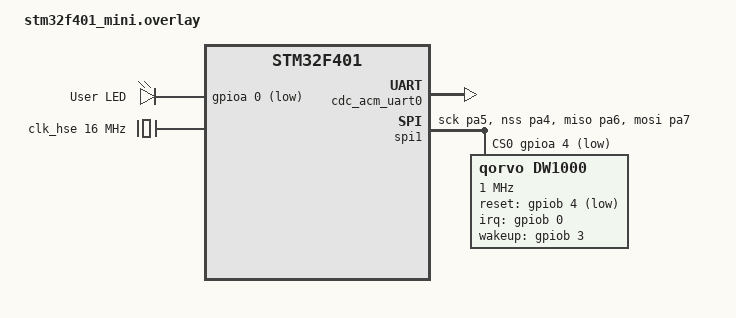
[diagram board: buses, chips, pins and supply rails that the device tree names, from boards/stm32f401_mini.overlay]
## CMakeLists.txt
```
# SPDX-License-Identifier: Apache-2.0
cmake_minimum_required(VERSION 3.20.0)

# use base board stm32f401_mini
set(BOARD stm32f401_mini)

# use flash way openocd
set(BOARD_FLASH_RUNNER openocd)

# overlay the dts file
# set(DTC_OVERLAY_FILE ${CMAKE_CURRENT_SOURCE_DIR}/boards/stm32f401_mini_dw1000.overlay)
set(DTC_OVERLAY_FILE ${CMAKE_CURRENT_SOURCE_DIR}/boards/stm32f401_mini.overlay)

# add the dw3000-decadriver directory as a zephyr module by hand, not needed when using west
list(APPEND ZEPHYR_EXTRA_MODULES ${CMAKE_CURRENT_SOURCE_DIR}/zephyr-dw3000-driver/)
list(APPEND ZEPHYR_EXTRA_MODULES ${CMAKE_CURRENT_SOURCE_DIR}/zephyr-dw1000-driver/)

find_package(Zephyr REQUIRED HINTS $ENV{ZEPHYR_BASE})

project(zephyr-dw3000)

FILE(GLOB app_sources src/main.cpp)
target_sources(app PRIVATE ${app_sources})

FILE(GLOB ex_sources src/device/*.cpp)
target_sources(app PRIVATE ${ex_sources})

FILE(GLOB ex_sources src/msg/*.cpp)
target_sources(app PRIVATE ${ex_sources})

target_include_directories(app PRIVATE include)

# target_compile_definitions(app PRIVATE LOG_LEVEL=LOG_LEVEL_INF)
target_compile_definitions(app PRIVATE LOG_LEVEL=LOG_LEVEL_DBG)

target_compile_definitions(app PRIVATE CMAKE_EXPORT_COMPILE_COMMANDS=1)
```

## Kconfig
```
config DEVICE_ADDRESS
	int "address of the device"
	default 0
config DEVICE_PANID
    int "PAN ID of the device"
    default 1

choice
    prompt "Device Type"
    default DEVICE_TYPE_NODE
    config DEVICE_TYPE_NODE
        bool "Node"
    config DEVICE_TYPE_TAG
        bool "Tag"
    config DEVICE_TYPE_ANCHOR
        bool "Anchor"
endchoice

choice
    prompt "Measurement Type"
    default SS_TWR
    config SS_TWR
        bool "SS TWR"
    config DS_TWR
        bool "DS TWR"
endchoice

menu "Zephyr options"
    source "Kconfig.zephyr"
endmenu
```

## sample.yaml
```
sample:
  name: dw3000 twr rtls
```

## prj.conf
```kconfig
CONFIG_CPP=y
CONFIG_CPP_MAIN=y
CONFIG_LIB_CPLUSPLUS=y
CONFIG_SYS_HASH_MAP_CHOICE_CXX=y
CONFIG_SYS_HASH_MAP=y
CONFIG_MINIMAL_LIBC_MALLOC_ARENA_SIZE=1024

CONFIG_USB_DEVICE_STACK=y
CONFIG_USB_DEVICE_VID=0x2FE4
CONFIG_USB_DEVICE_PRODUCT="USB console"
CONFIG_USB_DEVICE_MANUFACTURER="vacabun"

CONFIG_SERIAL=y
CONFIG_CONSOLE=y
CONFIG_UART_CONSOLE=y
CONFIG_UART_LINE_CTRL=y

CONFIG_SPI=y
CONFIG_GPIO=y
CONFIG_DEBUG_SWD=y

CONFIG_SHELL=y
CONFIG_LOG=y
CONFIG_CBPRINTF_FP_SUPPORT=y

CONFIG_JSON_LIBRARY=y

CONFIG_DW3000=n
CONFIG_DW1000=y
```

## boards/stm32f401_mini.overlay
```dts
/ {
	chosen {
		zephyr,console = &cdc_acm_uart0;
		zephyr,shell-uart = &cdc_acm_uart0;
	};

	leds {
		compatible = "gpio-leds";
		user_led: led {
			gpios = <&gpioa 0 GPIO_ACTIVE_LOW>;
			label = "User LED";
		};
	};
	aliases {
        serial = &usart1;
    };

};

&zephyr_udc0 {
	cdc_acm_uart0: cdc_acm_uart0 {
		compatible = "zephyr,cdc-acm-uart";
	};
};

&timers4 {
	status = "disabled";
};

&i2c1 {
	status = "disabled";
};

// 16M
&clk_hse {
	clock-frequency = <DT_FREQ_M(16)>;
	status = "okay";
};

&pll {
	div-m = <8>;
	mul-n = <72>;
	div-p = <2>;
	div-q = <3>;
	clocks = <&clk_hse>;
	status = "okay";
};

// 25M
// &clk_hse {
// 	clock-frequency = <DT_FREQ_M(25)>;
// 	status = "okay";
// };

// &pll {
// 	div-m = <25>;
// 	mul-n = <144>;
// 	div-p = <2>;
// 	div-q = <3>;
// 	clocks = <&clk_hse>;
// 	status = "okay";
// };

&rcc {
	clocks = <&pll>;
	clock-frequency = <DT_FREQ_M(72)>;
	ahb-prescaler = <1>;
	apb1-prescaler = <2>;
	apb2-prescaler = <1>;
};

// &spi1 {
// 	status = "okay";
// 	pinctrl-0 = <&spi1_sck_pa5 &spi1_nss_pa4
// 		     &spi1_miso_pa6 &spi1_mosi_pa7>;
// 	pinctrl-names = "default";
// 	cs-gpios = <&gpioa 4 GPIO_ACTIVE_LOW>;
// 	dw3000@0 {
// 		compatible = "decawave,dw3000";
// 		label = "DW3000";
// 		spi-max-frequency = <1000000>;
// 		reg = <0>;
// 		reset-gpios = <&gpiob 4 GPIO_ACTIVE_LOW>;
// 		irq-gpios = <&gpiob 0 GPIO_ACTIVE_HIGH>;
// 		wakeup-gpios = <&gpiob 3 GPIO_ACTIVE_HIGH>;
// 	};
// };

&spi1 {
	status = "okay";
	pinctrl-0 = <&spi1_sck_pa5 &spi1_nss_pa4
		     &spi1_miso_pa6 &spi1_mosi_pa7>;
	pinctrl-names = "default";
	cs-gpios = <&gpioa 4 GPIO_ACTIVE_LOW>;
	dw1000@0 {
		compatible = "qorvo,dw1000";
		label = "DW1000";
		spi-max-frequency = <1000000>;
		reg = <0>;
		reset-gpios = <&gpiob 4 GPIO_ACTIVE_LOW>;
		irq-gpios = <&gpiob 0 GPIO_ACTIVE_HIGH>;
		wakeup-gpios = <&gpiob 3 GPIO_ACTIVE_HIGH>;
	};
};
```

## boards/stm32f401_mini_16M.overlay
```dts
/ {
	chosen {
		zephyr,console = &cdc_acm_uart0;
		zephyr,shell-uart = &cdc_acm_uart0;
	};

	leds {
		compatible = "gpio-leds";
		user_led: led {
			gpios = <&gpioa 0 GPIO_ACTIVE_LOW>;
			label = "User LED";
		};
	};

};

&zephyr_udc0 {
	cdc_acm_uart0: cdc_acm_uart0 {
		compatible = "zephyr,cdc-acm-uart";
	};
};

&timers4 {
	status = "disabled";
};

&i2c1 {
	status = "disabled";
};

&clk_hse {
	clock-frequency = <DT_FREQ_M(16)>;
	status = "okay";
};

&pll {
	div-m = <8>;
	mul-n = <72>;
	div-p = <2>;
	div-q = <3>;
	clocks = <&clk_hse>;
	status = "okay";
};

&rcc {
	clocks = <&pll>;
	clock-frequency = <DT_FREQ_M(72)>;
	ahb-prescaler = <1>;
	apb1-prescaler = <2>;
	apb2-prescaler = <1>;
};

&spi1 {
	status = "okay";
	pinctrl-0 = <&spi1_sck_pa5 &spi1_nss_pa4
		     &spi1_miso_pa6 &spi1_mosi_pa7>;
	pinctrl-names = "default";
	cs-gpios = <&gpioa 4 GPIO_ACTIVE_LOW>;
	dw3000@0 {
		compatible = "decawave,dw3000";
		label = "DW3000";
		spi-max-frequency = <1000000>;
		reg = <0>;
		reset-gpios = <&gpiob 4 GPIO_ACTIVE_LOW>;
		irq-gpios = <&gpiob 0 GPIO_ACTIVE_HIGH>;
		wakeup-gpios = <&gpiob 3 GPIO_ACTIVE_HIGH>;
	};
};
```

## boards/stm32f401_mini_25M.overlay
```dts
/ {
	chosen {
		zephyr,console = &cdc_acm_uart0;
		zephyr,shell-uart = &cdc_acm_uart0;
	};

	leds {
		compatible = "gpio-leds";
		user_led: led {
			gpios = <&gpioa 0 GPIO_ACTIVE_LOW>;
			label = "User LED";
		};
	};

};

&zephyr_udc0 {
	cdc_acm_uart0: cdc_acm_uart0 {
		compatible = "zephyr,cdc-acm-uart";
	};
};

&timers4 {
	status = "disabled";
};

&i2c1 {
	status = "disabled";
};

&clk_hse {
	clock-frequency = <DT_FREQ_M(25)>;
	status = "okay";
};

&pll {
	div-m = <25>;
	mul-n = <144>;
	div-p = <2>;
	div-q = <3>;
	clocks = <&clk_hse>;
	status = "okay";
};

&rcc {
	clocks = <&pll>;
	clock-frequency = <DT_FREQ_M(72)>;
	ahb-prescaler = <1>;
	apb1-prescaler = <2>;
	apb2-prescaler = <1>;
};

&spi1 {
	status = "okay";
	pinctrl-0 = <&spi1_sck_pa5 &spi1_nss_pa4
		     &spi1_miso_pa6 &spi1_mosi_pa7>;
	pinctrl-names = "default";
	cs-gpios = <&gpioa 4 GPIO_ACTIVE_LOW>;
	dw3000@0 {
		compatible = "decawave,dw3000";
		label = "DW3000";
		spi-max-frequency = <1000000>;
		reg = <0>;
		reset-gpios = <&gpiob 4 GPIO_ACTIVE_LOW>;
		irq-gpios = <&gpiob 0 GPIO_ACTIVE_HIGH>;
		wakeup-gpios = <&gpiob 3 GPIO_ACTIVE_HIGH>;
	};
};
```

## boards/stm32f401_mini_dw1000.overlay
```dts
/ {
	chosen {
		zephyr,console = &cdc_acm_uart0;
		zephyr,shell-uart = &cdc_acm_uart0;
	};

	leds {
		compatible = "gpio-leds";
		user_led: led {
			gpios = <&gpioa 0 GPIO_ACTIVE_LOW>;
			label = "User LED";
		};
	};
	aliases {
        serial = &usart1;
    };

};

&zephyr_udc0 {
	cdc_acm_uart0: cdc_acm_uart0 {
		compatible = "zephyr,cdc-acm-uart";
	};
};

&timers4 {
	status = "disabled";
};

&i2c1 {
	status = "disabled";
};

// 16M
&clk_hse {
	clock-frequency = <DT_FREQ_M(16)>;
	status = "okay";
};

&pll {
	div-m = <8>;
	mul-n = <72>;
	div-p = <2>;
	div-q = <3>;
	clocks = <&clk_hse>;
	status = "okay";
};

&rcc {
	clocks = <&pll>;
	clock-frequency = <DT_FREQ_M(72)>;
	ahb-prescaler = <1>;
	apb1-prescaler = <2>;
	apb2-prescaler = <1>;
};

&spi1 {
	status = "okay";
	pinctrl-0 = <&spi1_sck_pa5 &spi1_nss_pa4
		     &spi1_miso_pa6 &spi1_mosi_pa7>;
	pinctrl-names = "default";
	cs-gpios = <&gpioa 4 GPIO_ACTIVE_LOW>;
	dw1000@0 {
		compatible = "qorvo,dw1000";
		label = "DW1000";
		spi-max-frequency = <1000000>;
		reg = <0>;
		reset-gpios = <&gpiob 4 GPIO_ACTIVE_LOW>;
		irq-gpios = <&gpiob 0 GPIO_ACTIVE_HIGH>;
		wakeup-gpios = <&gpiob 3 GPIO_ACTIVE_HIGH>;
	};
};
```

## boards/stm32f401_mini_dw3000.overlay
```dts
/ {
	chosen {
		zephyr,console = &cdc_acm_uart0;
		zephyr,shell-uart = &cdc_acm_uart0;
	};

	leds {
		compatible = "gpio-leds";
		user_led: led {
			gpios = <&gpioa 0 GPIO_ACTIVE_LOW>;
			label = "User LED";
		};
	};
	aliases {
        serial = &usart1;
    };

};

&zephyr_udc0 {
	cdc_acm_uart0: cdc_acm_uart0 {
		compatible = "zephyr,cdc-acm-uart";
	};
};

&timers4 {
	status = "disabled";
};

&i2c1 {
	status = "disabled";
};


// 25M
&clk_hse {
	clock-frequency = <DT_FREQ_M(25)>;
	status = "okay";
};

&pll {
	div-m = <25>;
	mul-n = <144>;
	div-p = <2>;
	div-q = <3>;
	clocks = <&clk_hse>;
	status = "okay";
};

&rcc {
	clocks = <&pll>;
	clock-frequency = <DT_FREQ_M(72)>;
	ahb-prescaler = <1>;
	apb1-prescaler = <2>;
	apb2-prescaler = <1>;
};

&spi1 {
	status = "okay";
	pinctrl-0 = <&spi1_sck_pa5 &spi1_nss_pa4
		     &spi1_miso_pa6 &spi1_mosi_pa7>;
	pinctrl-names = "default";
	cs-gpios = <&gpioa 4 GPIO_ACTIVE_LOW>;
	dw3000@0 {
		compatible = "decawave,dw3000";
		label = "DW3000";
		spi-max-frequency = <1000000>;
		reg = <0>;
		reset-gpios = <&gpiob 4 GPIO_ACTIVE_LOW>;
		irq-gpios = <&gpiob 0 GPIO_ACTIVE_HIGH>;
		wakeup-gpios = <&gpiob 3 GPIO_ACTIVE_HIGH>;
	};
};
```

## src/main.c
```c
/*
 * Copyright (c) 2016 Intel Corporation.
 *
 * SPDX-License-Identifier: Apache-2.0
 */

#include <zephyr/kernel.h>
#include <zephyr/sys/printk.h>
#include <zephyr/usb/usb_device.h>
#include <zephyr/drivers/uart.h>

// use swd debug
#if CONFIG_DEBUG_SWD == 1
#include "stm32f4xx_ll_system.h"
#endif

#include "dw3000.h"

BUILD_ASSERT(DT_NODE_HAS_COMPAT(DT_CHOSEN(zephyr_console), zephyr_cdc_acm_uart), "Console device is not ACM CDC UART device");
LOG_MODULE_REGISTER(main, LOG_LEVEL_DBG);

#define DEFAULT_STACKSIZE 2048

#if defined(TEST_READING_DEV_ID) || defined(TEST_AES_SS_TWR_INITIATOR) || defined(TEST_AES_SS_TWR_RESPONDER)

#define TEST_STACKSIZE 4096
#define _TEST_
#include "test/test.h"
void (*test_fun)(void *, void *, void *);
static K_THREAD_STACK_DEFINE(test_stack, TEST_STACKSIZE);
static struct k_thread test_thread;

#endif // TEST_READING_DEV_ID TEST_AES_SS_TWR_INITIATOR TEST_AES_SS_TWR_RESPONDER

#if defined(DEVICE_TAG)
#include <device/tag/tag.h>
static K_THREAD_STACK_DEFINE(tag_initiator_stack, DEFAULT_STACKSIZE);
static struct k_thread tag_initiator_thread;
#endif // DEVICE_TAG

#if defined(DEVICE_ANCHOR)

#include <device/anthor/anthor.h>
#include <device/device_common.h>

// tx Workqueue Thread
K_HEAP_DEFINE(tx_msg_heap, 1024);

#define ANTHOR_TX_WORK_QUEUE_STACK_SIZE 512
#define ANTHOR_TX_WORK_QUEUE_PRIORITY 5

K_THREAD_STACK_DEFINE(anthor_tx_work_q_stack_area, ANTHOR_TX_WORK_QUEUE_STACK_SIZE);
struct k_work_q anthor_tx_work_q;

// main thread
static K_THREAD_STACK_DEFINE(anthor_responder_stack, DEFAULT_STACKSIZE);
static struct k_thread anthor_responder_thread;

#endif // DEVICE_ANCHOR

void main(void)
{
	// swd debug
#if CONFIG_DEBUG_SWD == 1
	LL_DBGMCU_EnableDBGSleepMode();
#endif

	/* usb config */
	if (usb_enable(NULL))
		return;
	k_sleep(K_MSEC(1000));

#if defined(_TEST_)
#if defined(TEST_READING_DEV_ID)
	test_fun = read_dev_id;
#endif // TEST_READING_DEV_ID

#if defined(TEST_AES_SS_TWR_INITIATOR)
	test_fun = ss_aes_twr_initiator;
#endif // TEST_AES_SS_TWR_INITIATOR

#if defined(TEST_AES_SS_TWR_RESPONDER)
	test_fun = ss_aes_twr_responder;
#endif // TEST_AES_SS_TWR_RESPONDER

	k_thread_create(&test_thread,
					test_stack,
					TEST_STACKSIZE,
					test_fun,
					NULL,
					NULL,
					NULL,
					K_PRIO_COOP(7),
					0,
					K_NO_WAIT);
#endif //_TEST_

#if defined(DEVICE_TAG)
	tag_init_dw3000();
	k_thread_create(&tag_initiator_thread,
					tag_initiator_stack,
					DEFAULT_STACKSIZE,
					tag_initiator,
					NULL,
					NULL,
					NULL,
					K_PRIO_COOP(7),
					0,
					K_NO_WAIT);
#endif

#if defined(DEVICE_ANCHOR)
	anthor_init_dw3000();

	// tx Workqueue Thread
	k_work_queue_init(&anthor_tx_work_q);
	k_work_queue_start(&anthor_tx_work_q,
					   anthor_tx_work_q_stack_area,
					   K_THREAD_STACK_SIZEOF(anthor_tx_work_q_stack_area),
					   ANTHOR_TX_WORK_QUEUE_PRIORITY, NULL);

	k_thread_create(&anthor_responder_thread,
					anthor_responder_stack,
					DEFAULT_STACKSIZE,
					anthor_responder,
					NULL,
					NULL,
					NULL,
					K_PRIO_COOP(7),
					0,
					K_NO_WAIT);
#endif
}
```

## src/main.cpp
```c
/*
 * Copyright (c) 2016 Intel Corporation.
 *
 * SPDX-License-Identifier: Apache-2.0
 */

#include <zephyr/kernel.h>
#include <zephyr/sys/printk.h>
#include <zephyr/usb/usb_device.h>
#include <zephyr/drivers/uart.h>

// use swd debug
#include "stm32f4xx_ll_system.h"


BUILD_ASSERT(DT_NODE_HAS_COMPAT(DT_CHOSEN(zephyr_console), zephyr_cdc_acm_uart), "Console device is not ACM CDC UART device");
LOG_MODULE_REGISTER(main, LOG_LEVEL);

#define DEFAULT_STACKSIZE 4096

// rx workqueue
#define DEVICE_RX_WORK_QUEUE_STACK_SIZE 1024
#define DEVICE_RX_WORK_QUEUE_PRIORITY 5
K_THREAD_STACK_DEFINE(device_rx_work_q_stack_area, DEVICE_RX_WORK_QUEUE_STACK_SIZE);
struct k_work_q device_rx_work_q;

#if CONFIG_DEVICE_TYPE_TAG
    #include "device/tag.hpp"
    static K_THREAD_STACK_DEFINE(tag_stack, DEFAULT_STACKSIZE);
    static struct k_thread tag_thread;
#endif

#if CONFIG_DEVICE_TYPE_ANCHOR
    #include <device/anthor.hpp>
    static K_THREAD_STACK_DEFINE(anthor_responder_stack, DEFAULT_STACKSIZE);
    static struct k_thread anthor_responder_thread;
#endif

#if CONFIG_DEVICE_TYPE_NODE
    #include <device/node.hpp>
    static K_THREAD_STACK_DEFINE(node_responder_stack, DEFAULT_STACKSIZE);
    static struct k_thread node_responder_thread;
#endif

int main(void)
{
	// swd debug
	LL_DBGMCU_EnableDBGSleepMode();


	/* usb config */
	if (usb_enable(NULL))
		return 0;
	k_sleep(K_MSEC(1000));

	/* uart config */
    struct uart_config uart_cfg ={
		baudrate: 115200,
		parity: UART_CFG_PARITY_NONE,
        
		stop_bits: UART_CFG_STOP_BITS_1,
		data_bits: UART_CFG_DATA_BITS_8,
		flow_ctrl: UART_CFG_FLOW_CTRL_NONE
	};
    int ret = uart_configure(DEVICE_DT_GET(DT_ALIAS(serial)), &uart_cfg);
    if (ret != 0)
    {
        LOG_DBG("Failed to configure UART: %d", ret);
    }
	else{
		LOG_DBG("UART configured successfully");
	}


	/* work config */
	k_work_queue_init(&device_rx_work_q);
	k_work_queue_start(&device_rx_work_q,
					   device_rx_work_q_stack_area,
					   K_THREAD_STACK_SIZEOF(device_rx_work_q_stack_area),
					   DEVICE_RX_WORK_QUEUE_PRIORITY, NULL);

#if CONFIG_DEVICE_TYPE_TAG
	Tag tag;

	std::function<void(void *, void *, void *)> func = [&](void *arg1, void *arg2, void *arg3)
	{
		tag.app(arg1, arg2, arg3);
	};

	k_thread_create(
		&tag_thread,
		tag_stack,
		DEFAULT_STACKSIZE,
		[](void *arg1, void *arg2, void *arg3)
		{
			std::function<void(void *, void *, void *)> *func_ptr =
				static_cast<std::function<void(void *, void *, void *)> *>(arg1);
			(*func_ptr)(arg2, arg3, nullptr);
		},
		&func,
		&tag_thread,
		NULL,
		K_PRIO_COOP(7),
		0,
		K_NO_WAIT);

#endif

#if CONFIG_DEVICE_TYPE_ANCHOR
	Anthor anthor;

	std::function<void(void *, void *, void *)> func = [&](void *arg1, void *arg2, void *arg3)
	{
		anthor.app(arg1, arg2, arg3);
	};

	k_thread_create(
		&anthor_responder_thread,
		anthor_responder_stack,
		DEFAULT_STACKSIZE,
		[](void *arg1, void *arg2, void *arg3)
		{
			std::function<void(void *, void *, void *)> *func_ptr =
				static_cast<std::function<void(void *, void *, void *)> *>(arg1);
			(*func_ptr)(arg2, arg3, nullptr);
		},
		&func,
		&anthor_responder_thread,
		NULL,
		K_PRIO_COOP(7),
		0,
		K_NO_WAIT);
#endif
#if CONFIG_DEVICE_TYPE_NODE
	Node node;

	std::function<void(void *, void *, void *)> func = [&](void *arg1, void *arg2, void *arg3)
	{
		node.app(arg1, arg2, arg3);
	};

	k_thread_create(
		&node_responder_thread,
		node_responder_stack,
		DEFAULT_STACKSIZE,
		[](void *arg1, void *arg2, void *arg3)
		{
			std::function<void(void *, void *, void *)> *func_ptr =
				static_cast<std::function<void(void *, void *, void *)> *>(arg1);
			(*func_ptr)(arg2, arg3, nullptr);
		},
		&func,
		&node_responder_thread,
		NULL,
		K_PRIO_COOP(7),
		0,
		K_NO_WAIT);
#endif

	return 0;
}
```

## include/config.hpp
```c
#ifndef CONFIG_HPP
#define CONFIG_HPP

if


#endif // CONFIG_HPP
```
